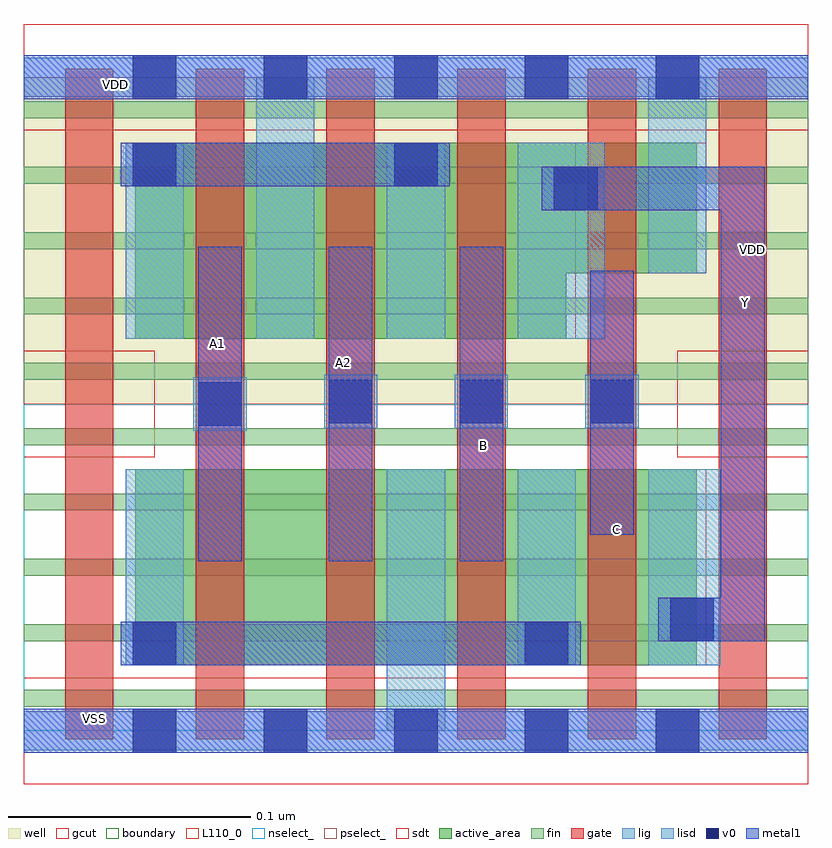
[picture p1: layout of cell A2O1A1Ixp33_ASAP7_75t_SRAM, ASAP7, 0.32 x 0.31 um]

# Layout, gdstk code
import gdstk
lib = gdstk.Library(unit=1e-6, precision=2.5e-10)
def R(c, l, rs):  # rectangles x0, y0, x1, y1
    for r in rs: c.add(gdstk.rectangle(r[:2], r[2:], *l))
def A(c, l, x, y, w, h, nx, ny, dx, dy):  # array of equal rectangles
    R(c, l, [(x+i*dx, y+j*dy, x+i*dx+w, y+j*dy+h) for i in range(nx) for j in range(ny)])
def P(c, l, *ps):  # polygons
    for p in ps: c.add(gdstk.Polygon(p, *l))
well = (1, 0)
fin = (2, 0)
gate = (7, 0)
gcut = (10, 0)
active_area = (11, 0)
nselect_ = (12, 0)
pselect_ = (13, 0)
lig = (16, 0)
lisd = (17, 0)
v0 = (18, 0)
metal1 = (19, 0)
sdt = (88, 0)
boundary = (100, 0)
L110_0 = (110, 0)

a2o1a1ixp33_asap7_75t_sr = lib.new_cell('A2O1A1Ixp33_ASAP7_75t_SRAM')
R(a2o1a1ixp33_asap7_75t_sr, well, [(0,0.135,0.324,0.27)])
A(a2o1a1ixp33_asap7_75t_sr, fin, 0, 0.01, 0.324, 0.007, 1, 10, 0, 0.027)
A(a2o1a1ixp33_asap7_75t_sr, gate, 0.017, -0.0035, 0.02, 0.277, 6, 1, 0.054, 0)
R(a2o1a1ixp33_asap7_75t_sr, gate, [(0.287,-0.0035,0.307,0.2735)])
R(a2o1a1ixp33_asap7_75t_sr, gcut, [(0,-0.022,0.324,0.022), (0,0.113,0.054,0.157), (0.27,0.113,0.324,0.157), (0,0.248,0.324,0.292)])
R(a2o1a1ixp33_asap7_75t_sr, active_area, [(0.046,0.027,0.278,0.108), (0.262,0.027,0.278,0.108), (0.046,0.162,0.224,0.243), (0.202,0.189,0.278,0.243), (0.262,0.189,0.278,0.243)])
R(a2o1a1ixp33_asap7_75t_sr, nselect_, [(0,0,0.324,0.135)])
R(a2o1a1ixp33_asap7_75t_sr, pselect_, [(0,0.135,0.324,0.27)])
A(a2o1a1ixp33_asap7_75t_sr, lig, 0.124, 0.125, 0.022, 0.022, 3, 1, 0.054, 0)
R(a2o1a1ixp33_asap7_75t_sr, lig, [(0,-0.008,0.324,0.008), (0.07,0.124,0.092,0.146), (0,0.262,0.324,0.278)])
R(a2o1a1ixp33_asap7_75t_sr, lisd, [(0.15,0,0.174,0.108), (0.042,0.027,0.066,0.108), (0.204,0.027,0.228,0.108), (0.258,0.027,0.288,0.108), (0.042,0.162,0.066,0.243), (0.096,0.162,0.12,0.27), (0.15,0.162,0.174,0.243), (0.204,0.162,0.24,0.243), (0.258,0.189,0.282,0.27)])
A(a2o1a1ixp33_asap7_75t_sr, v0, 0.045, -0.009, 0.018, 0.018, 5, 2, 0.054, 0.27)
A(a2o1a1ixp33_asap7_75t_sr, v0, 0.126, 0.127, 0.018, 0.018, 3, 1, 0.054, 0)
R(a2o1a1ixp33_asap7_75t_sr, v0, [(0.261,-0.009,0.279,0.009), (0.045,0.027,0.063,0.045), (0.207,0.027,0.225,0.045), (0.267,0.037,0.285,0.055), (0.072,0.126,0.09,0.144), (0.219,0.215,0.237,0.233), (0.045,0.225,0.063,0.243), (0.153,0.225,0.171,0.243), (0.261,0.261,0.279,0.279)])
A(a2o1a1ixp33_asap7_75t_sr, metal1, 0.072, 0.07, 0.018, 0.13, 3, 1, 0.054, 0)
R(a2o1a1ixp33_asap7_75t_sr, metal1, [(0,-0.009,0.324,0.009), (0.04,0.027,0.23,0.045), (0.234,0.081,0.252,0.19), (0.04,0.225,0.176,0.243), (0,0.261,0.324,0.279)])
P(a2o1a1ixp33_asap7_75t_sr, metal1, [(0.306,0.233),(0.214,0.233),(0.214,0.215),(0.288,0.215),(0.288,0.055),(0.262,0.055),(0.262,0.037),(0.306,0.037)])
A(a2o1a1ixp33_asap7_75t_sr, sdt, 0.15, 0.027, 0.024, 0.081, 3, 1, 0.054, 0)
A(a2o1a1ixp33_asap7_75t_sr, sdt, 0.042, 0.162, 0.024, 0.081, 4, 1, 0.054, 0)
R(a2o1a1ixp33_asap7_75t_sr, sdt, [(0.042,0.027,0.066,0.108), (0.258,0.189,0.282,0.243)])
R(a2o1a1ixp33_asap7_75t_sr, boundary, [(0,0,0.324,0.27)])
R(a2o1a1ixp33_asap7_75t_sr, L110_0, [(0,0,0.324,0.27)])
a2o1a1ixp33_asap7_75t_sr.add(gdstk.Label('VSS', (0.029,0.005), layer=19, texttype=251))
a2o1a1ixp33_asap7_75t_sr.add(gdstk.Label('A1', (0.08,0.16), layer=19, texttype=251))
a2o1a1ixp33_asap7_75t_sr.add(gdstk.Label('A2', (0.132,0.152), layer=19, texttype=251))
a2o1a1ixp33_asap7_75t_sr.add(gdstk.Label('B', (0.19,0.118), layer=19, texttype=251))
a2o1a1ixp33_asap7_75t_sr.add(gdstk.Label('C', (0.245,0.083), layer=19, texttype=251))
a2o1a1ixp33_asap7_75t_sr.add(gdstk.Label('Y', (0.298,0.177), layer=19, texttype=251))
a2o1a1ixp33_asap7_75t_sr.add(gdstk.Label('VDD', (0.038,0.267), layer=19, texttype=251))
a2o1a1ixp33_asap7_75t_sr.add(gdstk.Label('VDD', (0.301,0.199), layer=1, texttype=251))
a2o1a1ixp33_asap7_75t_sr.add(gdstk.Label('VSS', (0.145,-0.055), layer=3, texttype=251))

lib.write_gds('A2O1A1Ixp33_ASAP7_75t_SRAM.gds')
